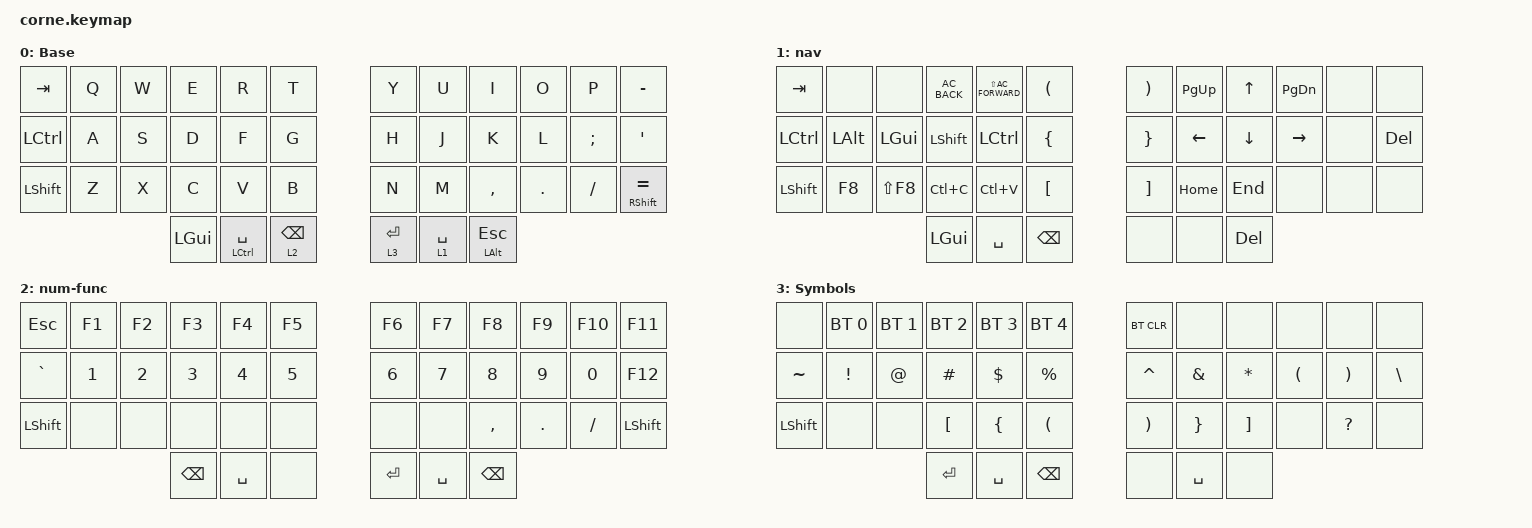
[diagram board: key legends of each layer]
/*
 * Copyright (c) 2020 The ZMK Contributors
 *
 * SPDX-License-Identifier: MIT
 */

#include <behaviors.dtsi>
#include <dt-bindings/zmk/bt.h>
#include <dt-bindings/zmk/keys.h>

/ {
    keymap {
        compatible = "zmk,keymap";

        default_layer {
            // -----------------------------------------------------------------------------------------
            // |  TAB |  Q  |  W  |  E  |  R  |  T  |   |  Y  |  U   |  I  |  O  |  P  | BKSP |
            // | CTRL |  A  |  S  |  D  |  F  |  G  |   |  H  |  J   |  K  |  L  |  ;  |  '   |
            // | SHFT |  Z  |  X  |  C  |  V  |  B  |   |  N  |  M   |  ,  |  .  |  /  | ESC  |
            //                    | GUI | LWR | SPC |   | ENT | RSE  | ALT |

            label = "Base";
            bindings = <
&kp TAB    &kp Q  &kp W  &kp E     &kp R            &kp T              &kp Y        &kp U        &kp I             &kp O    &kp P          &kp MINUS
&kp LCTRL  &kp A  &kp S  &kp D     &kp F            &kp G              &kp H        &kp J        &kp K             &kp L    &kp SEMICOLON  &kp SQT
&kp LSHFT  &kp Z  &kp X  &kp C     &kp V            &kp B              &kp N        &kp M        &kp COMMA         &kp DOT  &kp FSLH       &mt RSHIFT EQUAL
                         &kp LGUI  &mt LCTRL SPACE  &lt 2 BACKSPACE    &lt 3 ENTER  &lt 1 SPACE  &mt LEFT_ALT ESC
            >;
        };

        nav {
            bindings = <
&kp TAB         &none         &none         &kp C_AC_BACK   &kp LS(C_AC_FORWARD)  &kp LEFT_PARENTHESIS    &kp RIGHT_PARENTHESIS  &kp PAGE_UP  &kp UP_ARROW    &kp PAGE_DOWN    &none  &none
&kp LCTRL       &kp LEFT_ALT  &kp LEFT_GUI  &kp LEFT_SHIFT  &kp LCTRL             &kp LEFT_BRACE          &kp RIGHT_BRACE        &kp LEFT     &kp DOWN_ARROW  &kp RIGHT_ARROW  &none  &kp DELETE
&kp LEFT_SHIFT  &kp F8        &kp LS(F8)    &kp LC(C)       &kp LC(V)             &kp LEFT_BRACKET        &kp RIGHT_BRACKET      &kp HOME     &kp END         &none            &none  &none
                                            &kp LEFT_GUI    &kp SPACE             &kp BACKSPACE           &none                  &none        &kp DELETE
            >;
        };

        num-func {
            bindings = <
&kp ESCAPE      &kp F1        &kp F2        &kp F3         &kp F4     &kp F5    &kp F6     &kp F7     &kp F8         &kp F9   &kp F10    &kp F11
&kp GRAVE       &kp NUMBER_1  &kp NUMBER_2  &kp N3         &kp N4     &kp N5    &kp N6     &kp N7     &kp N8         &kp N9   &kp N0     &kp F12
&kp LEFT_SHIFT  &none         &none         &none          &none      &none     &none      &none      &kp COMMA      &kp DOT  &kp SLASH  &kp LEFT_SHIFT
                                            &kp BACKSPACE  &kp SPACE  &none     &kp ENTER  &kp SPACE  &kp BACKSPACE
            >;
        };

        Symbols {
            bindings = <
&none           &bt BT_SEL 0     &bt BT_SEL 1  &bt BT_SEL 2      &bt BT_SEL 3    &bt BT_SEL 4            &bt BT_CLR             &none            &none              &none                 &none                  &none
&kp TILDE       &kp EXCLAMATION  &kp AT        &kp HASH          &kp DOLLAR      &kp PERCENT             &kp CARET              &kp AMPERSAND    &kp ASTERISK       &kp LEFT_PARENTHESIS  &kp RIGHT_PARENTHESIS  &kp BACKSLASH
&kp LEFT_SHIFT  &none            &none         &kp LEFT_BRACKET  &kp LEFT_BRACE  &kp LEFT_PARENTHESIS    &kp RIGHT_PARENTHESIS  &kp RIGHT_BRACE  &kp RIGHT_BRACKET  &none                 &kp QUESTION           &none
                                               &kp ENTER         &kp SPACE       &kp BACKSPACE           &none                  &kp SPACE        &none
            >;
        };
    };
};
